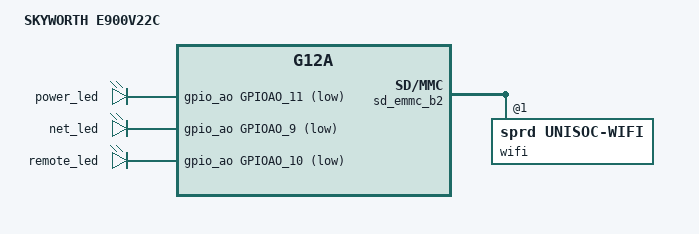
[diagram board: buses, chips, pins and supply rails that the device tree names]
// SPDX-License-Identifier: (GPL-2.0+ OR MIT)

/dts-v1/;

#include "g12a_s905x2_2g.dts"

/ {
	compatible = "skyworth,e900v22c", "amlogic,g12a";
	model = "SKYWORTH E900V22C";

	/delete-node/ gpioleds;

	leds {
		compatible = "gpio-leds";
		status = "okay";

		power_led {
			label = "power_led";
			gpios = <&gpio_ao GPIOAO_11 GPIO_ACTIVE_LOW>;
			default-state = "on";
		};

		net_led {
			label = "net_led";
			gpios = <&gpio_ao GPIOAO_9 GPIO_ACTIVE_LOW>;
			default-state = "off";
			linux,default-trigger = "0.0:00:link";
		};

		remote_led {
			label = "remote_led";
			gpios = <&gpio_ao GPIOAO_10 GPIO_ACTIVE_LOW>;
			default-state = "off";
			linux,default-trigger = "rc-feedback";
		};
	};
};

&sd_emmc_b2 {
	#address-cells = <1>;
	#size-cells = <0>;

	wifi: wifi@1 {
		reg = <1>;
		compatible = "sprd,unisoc-wifi";
	};
};
